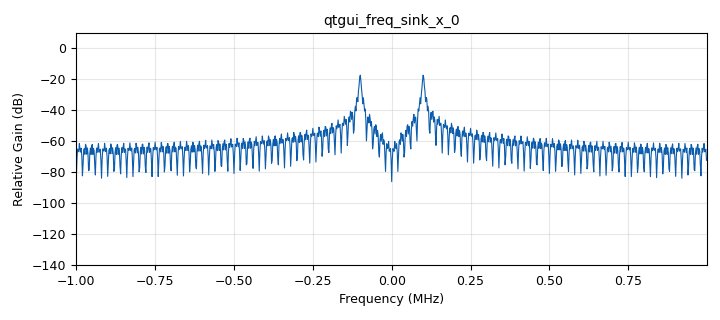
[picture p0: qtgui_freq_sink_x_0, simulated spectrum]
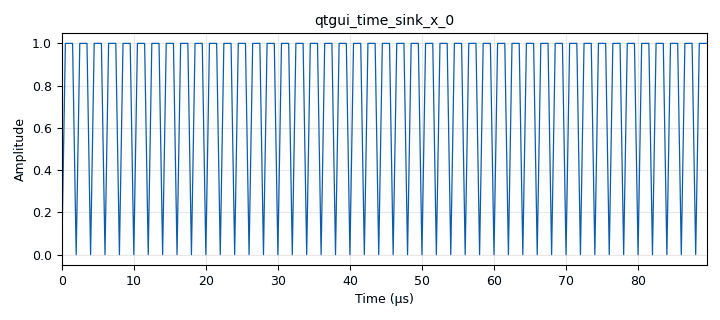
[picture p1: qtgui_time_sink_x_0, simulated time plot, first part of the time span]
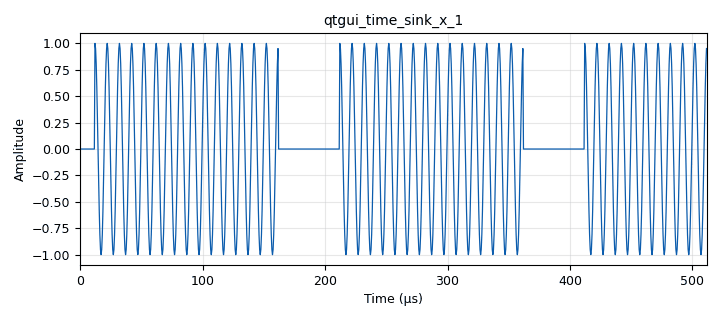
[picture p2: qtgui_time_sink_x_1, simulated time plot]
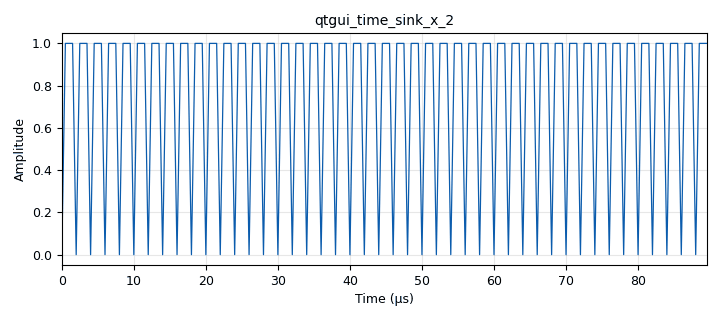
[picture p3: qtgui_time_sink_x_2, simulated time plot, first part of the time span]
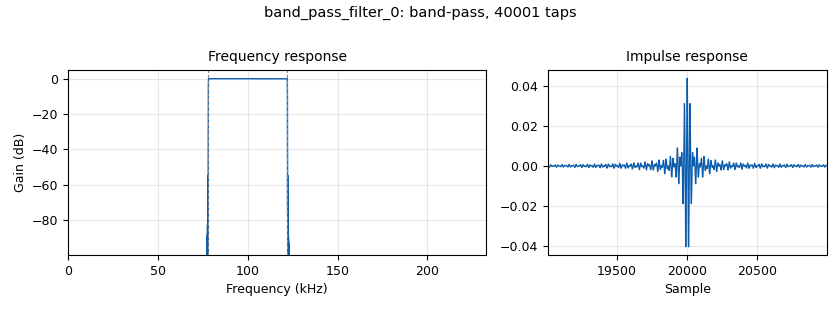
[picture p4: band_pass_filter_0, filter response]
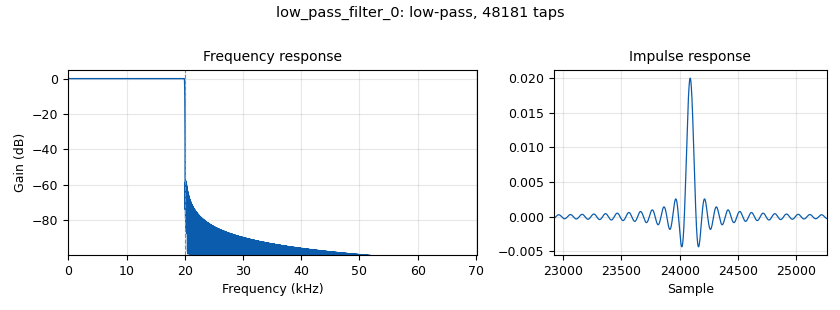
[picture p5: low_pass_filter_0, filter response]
options:
  parameters:
    generate_options: qt_gui
    id: demo01
    output_language: python
  states: {}

blocks:
- name: samp_rate
  id: variable
  parameters:
    value: '2000000'
  states: {}
- name: analog_noise_source_x_0
  id: analog_noise_source_x
  parameters:
    amp: '0.2'
    noise_type: analog.GR_GAUSSIAN
    seed: '0'
    type: float
  states: {}
- name: analog_sig_source_x_0
  id: analog_sig_source_x
  parameters:
    amp: '1'
    freq: '100000'
    offset: '0'
    phase: '0'
    samp_rate: samp_rate
    type: float
    waveform: analog.GR_COS_WAVE
  states: {}
- name: analog_sig_source_x_1
  id: analog_sig_source_x
  parameters:
    amp: '1'
    freq: '100000'
    offset: '0'
    phase: '0'
    samp_rate: samp_rate
    type: float
    waveform: analog.GR_COS_WAVE
  states: {}
- name: band_pass_filter_0
  id: band_pass_filter
  parameters:
    decim: '1'
    gain: '1'
    high_cutoff_freq: '122000'
    low_cutoff_freq: '78000'
    samp_rate: samp_rate
    type: fir_filter_fff
    width: '100'
    win: firdes.WIN_HANN
  states: {}
- name: blocks_add_xx_0
  id: blocks_add_xx
  parameters:
    type: float
  states: {}
- name: blocks_char_to_float_0
  id: blocks_char_to_float
  parameters:
    scale: '1'
  states: {}
- name: blocks_char_to_float_0_0
  id: blocks_char_to_float
  parameters:
    scale: '1'
  states: {}
- name: blocks_keep_one_in_n_0
  id: blocks_keep_one_in_n
  parameters:
    n: '100'
    type: float
  states: {}
- name: blocks_multiply_xx_0
  id: blocks_multiply_xx
  parameters:
    type: float
  states: {}
- name: blocks_multiply_xx_1
  id: blocks_multiply_xx
  parameters:
    type: float
  states: {}
- name: blocks_repeat_0
  id: blocks_repeat
  parameters:
    interp: '100'
    type: byte
  states: {}
- name: blocks_threshold_ff_0
  id: blocks_threshold_ff
  parameters:
    high: '0.3'
    init: '0'
    low: '0.3'
  states: {}
- name: blocks_vector_source_x_0
  id: blocks_vector_source_x
  parameters:
    repeat: 'True'
    type: byte
    vector: (1, 0, 1, 1)
  states: {}
- name: low_pass_filter_0
  id: low_pass_filter
  parameters:
    cutoff_freq: '20000'
    decim: '1'
    gain: '1'
    samp_rate: samp_rate
    type: fir_filter_fff
    width: '100'
    win: firdes.WIN_HAMMING
  states: {}
- name: qtgui_freq_sink_x_0
  id: qtgui_freq_sink_x
  parameters:
    bw: samp_rate
    fc: '0'
    fftsize: '1024'
    type: float
    wintype: firdes.WIN_BLACKMAN_hARRIS
  states: {}
- name: qtgui_time_sink_x_0
  id: qtgui_time_sink_x
  parameters:
    autoscale: 'True'
    size: '1024'
    srate: samp_rate
    type: float
  states: {}
- name: qtgui_time_sink_x_1
  id: qtgui_time_sink_x
  parameters:
    autoscale: 'True'
    size: '1024'
    srate: samp_rate
    type: float
  states: {}
- name: qtgui_time_sink_x_2
  id: qtgui_time_sink_x
  parameters:
    autoscale: 'True'
    size: '1024'
    srate: samp_rate
    type: float
  states: {}
- name: virtual_sink_0
  id: virtual_sink
  parameters:
    stream_id: ASK
  states: {}
- name: virtual_source_0
  id: virtual_source
  parameters:
    stream_id: ASK
  states: {}

connections:
- [analog_noise_source_x_0, '0', blocks_add_xx_0, '1']
- [analog_sig_source_x_0, '0', blocks_multiply_xx_0, '1']
- [analog_sig_source_x_1, '0', blocks_multiply_xx_1, '1']
- [band_pass_filter_0, '0', blocks_multiply_xx_1, '0']
- [blocks_add_xx_0, '0', virtual_sink_0, '0']
- [blocks_char_to_float_0, '0', qtgui_time_sink_x_0, '0']
- [blocks_char_to_float_0_0, '0', blocks_multiply_xx_0, '0']
- [blocks_keep_one_in_n_0, '0', qtgui_time_sink_x_2, '0']
- [blocks_multiply_xx_0, '0', blocks_add_xx_0, '0']
- [blocks_multiply_xx_0, '0', qtgui_freq_sink_x_0, '0']
- [blocks_multiply_xx_0, '0', qtgui_time_sink_x_1, '0']
- [blocks_multiply_xx_1, '0', low_pass_filter_0, '0']
- [blocks_repeat_0, '0', blocks_char_to_float_0_0, '0']
- [blocks_threshold_ff_0, '0', blocks_keep_one_in_n_0, '0']
- [blocks_vector_source_x_0, '0', blocks_char_to_float_0, '0']
- [blocks_vector_source_x_0, '0', blocks_repeat_0, '0']
- [low_pass_filter_0, '0', blocks_threshold_ff_0, '0']
- [virtual_source_0, '0', band_pass_filter_0, '0']

metadata:
  file_format: 1
